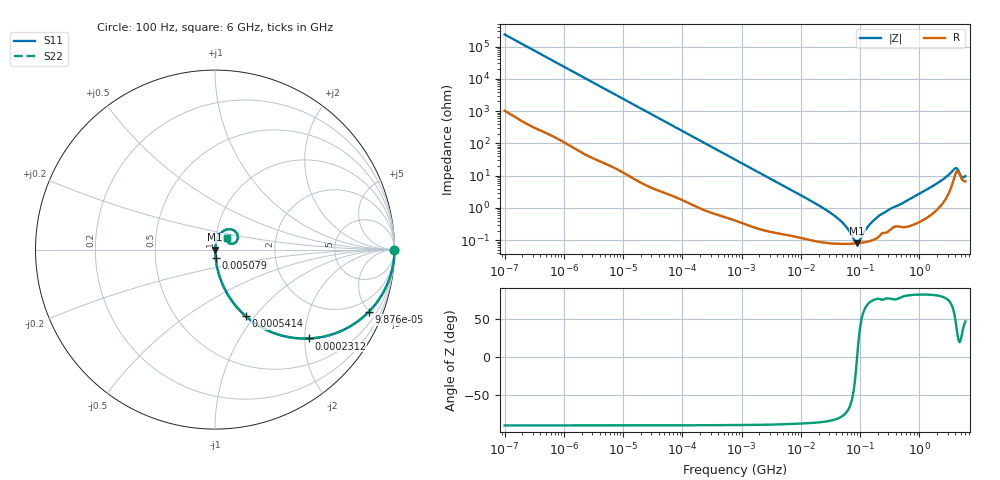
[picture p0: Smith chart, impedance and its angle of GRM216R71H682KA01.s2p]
!Murata Part Number: GRM216R71H682KA01
!These Parameters are Measured in Series Mode Connection
!Data Generated on Mar 30, 2021
!  o--ll--o
!Port1  Port2
!  o------o
!Operation Temp=25[degC], DC Bias Voltage=0[V]
!Freq. Start=100[Hz] Stop=6[GHz] 401[Steps]
# Hz S RI R 50
!Freq.(Hz) S11(Real) S11(Imag) S21(Real) S21(Imag) S12(Real) S12(Imag) S22(Real) S22(Imag)
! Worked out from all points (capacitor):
!   401 points, 100 Hz to 6 GHz, reference 50 ohm
!   read as one part in series: C = 6.7 nF near 109 Hz
!   lowest |Z| = 80.2 mohm at 89.18 MHz (marker M1)
!   series resonance near 89.1 MHz, so ESL is about 480 pH
!   S11 on the Smith chart (normalised r, x): 100 Hz: open; 98.76 kHz: 1.04, -4.90; 231.2 kHz: 1.02, -2.10; 541.4 kHz: 1.01, -0.90; 5.079 MHz: 1.00, -0.10; 6 GHz: 1.13, +0.14
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100  1 -0.000421  2e-06 0.000421  2e-06 0.000421  1 -0.000421
2008  0.9999 -0.0084  0.000107 0.0084  0.000107 0.0084  0.9999 -0.0084
12592  0.997 -0.0522  0.003 0.0522  0.003 0.0522  0.997 -0.0522
40335  0.9719 -0.1623  0.0281 0.1623  0.0281 0.1623  0.9719 -0.1623
98762  0.8556 -0.3479  0.1444 0.3479  0.1444 0.3479  0.8556 -0.3479
231233  0.5248 -0.4953  0.4752 0.4953  0.4752 0.4953  0.5248 -0.4953
541393  0.1717 -0.3715  0.8283 0.3715  0.8283 0.3715  0.1717 -0.3715
774597  0.0937 -0.2851  0.9063 0.2851  0.9063 0.2851  0.0937 -0.2851
1813585  0.0203 -0.1326  0.9797 0.1326  0.9797 0.1326  0.0203 -0.1326
5079039  0.00388 -0.0484  0.9961 0.0484  0.9961 0.0484  0.00388 -0.0484
1.555665e7  0.00123 -0.0157  0.9988 0.0157  0.9988 0.0157  0.00123 -0.0157
4.556224e7  0.000789 -0.00412  0.9992 0.00412  0.9992 0.00412  0.000789 -0.00412
6.233367e7  0.000776 -0.00209  0.9992 0.00209  0.9992 0.00209  0.000776 -0.00209
8.154455e7  0.00079 -0.000507  0.9992 0.000507  0.9992 0.000507  0.00079 -0.000507
8.918374e7  0.000801 5.4e-06  0.9992 -5.4e-06  0.9992 -5.4e-06  0.000801 5.4e-06
1.596157e8  0.001 0.00354  0.999 -0.00354  0.999 -0.00354  0.001 0.00354
3.124326e8  0.00207 0.00878  0.9979 -0.00878  0.9979 -0.00878  0.00207 0.00878
1.712697e9  0.00906 0.0475  0.9909 -0.0475  0.9909 -0.0475  0.00906 0.0475
3.8344e9  0.0872 0.1137  0.9128 -0.1137  0.9128 -0.1137  0.0872 0.1137
4.385646e9  0.1283 0.0645  0.8717 -0.0645  0.8717 -0.0645  0.1283 0.0645
5.245841e9  0.0737 0.0388  0.9263 -0.0388  0.9263 -0.0388  0.0737 0.0388
6e9  0.0668 0.0626  0.9332 -0.0626  0.9332 -0.0626  0.0668 0.0626
